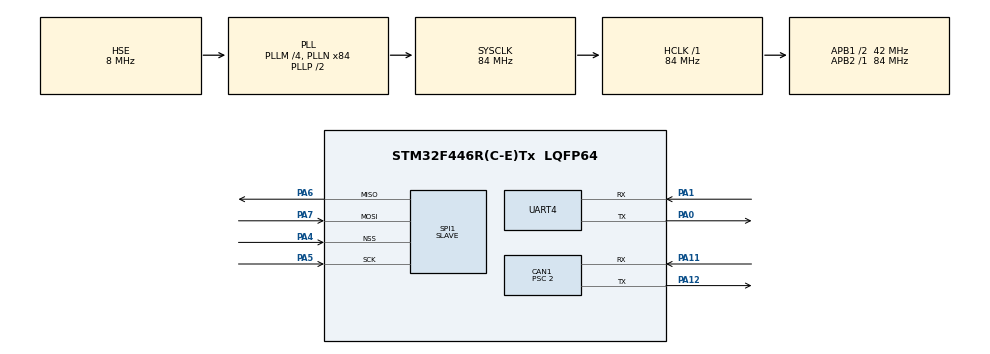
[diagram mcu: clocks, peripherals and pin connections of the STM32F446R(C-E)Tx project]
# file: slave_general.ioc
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CAN1.BS1=CAN_BS1_16TQ
CAN1.BS2=CAN_BS2_4TQ
CAN1.CalculateBaudRate=1000000
CAN1.CalculateTimeBit=1000
CAN1.CalculateTimeQuantum=47.61904761904762
CAN1.Prescaler=2
Dma.Request0=SPI1_RX
Dma.Request1=SPI1_TX
Dma.SPI1_RX.0.Direction=DMA_PERIPH_TO_MEMORY
Dma.SPI1_RX.0.FIFOMode=DMA_FIFOMODE_DISABLE
Dma.SPI1_RX.0.Instance=DMA2_Stream0
Dma.SPI1_RX.0.MemDataAlignment=DMA_MDATAALIGN_BYTE
Dma.SPI1_RX.0.MemInc=DMA_MINC_ENABLE
Dma.SPI1_RX.0.Mode=DMA_NORMAL
Dma.SPI1_RX.0.PeriphDataAlignment=DMA_PDATAALIGN_BYTE
Dma.SPI1_RX.0.PeriphInc=DMA_PINC_DISABLE
Dma.SPI1_RX.0.Priority=DMA_PRIORITY_LOW
Dma.SPI1_TX.1.Direction=DMA_MEMORY_TO_PERIPH
Dma.SPI1_TX.1.FIFOMode=DMA_FIFOMODE_DISABLE
Dma.SPI1_TX.1.Instance=DMA2_Stream3
Dma.SPI1_TX.1.MemDataAlignment=DMA_MDATAALIGN_BYTE
Dma.SPI1_TX.1.MemInc=DMA_MINC_ENABLE
Dma.SPI1_TX.1.Mode=DMA_NORMAL
Dma.SPI1_TX.1.PeriphDataAlignment=DMA_PDATAALIGN_BYTE
Dma.SPI1_TX.1.PeriphInc=DMA_PINC_DISABLE
Dma.SPI1_TX.1.Priority=DMA_PRIORITY_LOW
Mcu.Family=STM32F4
Mcu.Name=STM32F446R(C-E)Tx
Mcu.Package=LQFP64
NVIC.CAN1_RX0_IRQn=true\:1\:0\:true\:false\:true\:true\:true\:true
NVIC.DMA2_Stream0_IRQn=true\:0\:0\:false\:false\:true\:false\:true\:true
NVIC.DMA2_Stream3_IRQn=true\:0\:0\:false\:false\:true\:false\:true\:true
NVIC.PriorityGroup=NVIC_PRIORITYGROUP_4
NVIC.SPI1_IRQn=true\:1\:0\:true\:false\:true\:true\:true\:true
PA0-WKUP.Mode=Asynchronous
PA0-WKUP.Signal=UART4_TX
PA1.Mode=Asynchronous
PA1.Signal=UART4_RX
PA11.Mode=CAN_Activate
PA11.Signal=CAN1_RX
PA12.Mode=CAN_Activate
PA12.Signal=CAN1_TX
PA4.Mode=NSS_Signal_Hard_Input
PA4.Signal=SPI1_NSS
PA5.Mode=Full_Duplex_Slave
PA5.Signal=SPI1_SCK
PA6.Mode=Full_Duplex_Slave
PA6.Signal=SPI1_MISO
PA7.Mode=Full_Duplex_Slave
PA7.Signal=SPI1_MOSI
PH0-OSC_IN.Mode=HSE-External-Oscillator
PH0-OSC_IN.Signal=RCC_OSC_IN
PH1-OSC_OUT.Mode=HSE-External-Oscillator
PH1-OSC_OUT.Signal=RCC_OSC_OUT
ProjectManager.HeapSize=0x200
ProjectManager.StackSize=0x400
ProjectManager.TargetToolchain=STM32CubeIDE
RCC.AHBFreq_Value=84000000
RCC.APB1CLKDivider=RCC_HCLK_DIV2
RCC.APB1Freq_Value=42000000
RCC.APB1TimFreq_Value=84000000
RCC.APB2Freq_Value=84000000
RCC.APB2TimFreq_Value=84000000
RCC.CortexFreq_Value=84000000
RCC.HCLKFreq_Value=84000000
RCC.HSE_VALUE=8000000
RCC.PLLM=4
RCC.PLLN=84
RCC.PLLSourceVirtual=RCC_PLLSOURCE_HSE
RCC.SYSCLKFreq_VALUE=84000000
RCC.SYSCLKSource=RCC_SYSCLKSOURCE_PLLCLK
RCC.USBFreq_Value=84000000
RCC.VCOOutputFreq_Value=168000000
SPI1.Direction=SPI_DIRECTION_2LINES
SPI1.Mode=SPI_MODE_SLAVE
SPI1.VirtualNSS=VM_NSSHARD
SPI1.VirtualType=VM_SLAVE
UART4.VirtualMode=Asynchronous
board=custom

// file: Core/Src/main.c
/* USER CODE BEGIN Header */
/**
  ******************************************************************************
  * @file           : main.c
  * @brief          : Main program body
  ******************************************************************************
  * @attention
  *
  * Copyright (c) 2025 STMicroelectronics.
  * All rights reserved.
  *
  * This software is licensed under terms that can be found in the LICENSE file
  * in the root directory of this software component.
  * If no LICENSE file comes with this software, it is provided AS-IS.
  *
  ******************************************************************************
  */
/* USER CODE END Header */
#include "main.h"

/* USER CODE BEGIN Includes */
#include "stm32f4xx_hal.h"
#include "stm32f4xx_hal_def.h"
#include "stm32f4xx_hal_uart.h"
#include <stdint.h>
#include <stdio.h>
#include <string.h>
#include "robostride.h"
#include "motor_chain.h"
#include "slave_spi.h"
#include "motor_runtime.h"
#include "tx_arm_timer.h"   /* TX-arm deadline (one-shot TIM3) — removes the telemetry lag */
#include "../../../../common/include/slave_service.h"  /* slave_service_due — forward/fallback */
#include "spi_proto.h"     /* SPI frame codec: build telemetry, parse commands */

/* USER CODE END Includes */

/* USER CODE BEGIN PD */
/* Compile-time gate for ALL UART4 debug output (TX on pin PA0, 115200 8N1).
   OFF by default: no debug console is wired in the normal build, and
   HAL_UART_Transmit is blocking (~8 ms per line) inside the 200 Hz control loop.
   Set to 1 (e.g. -DSLAVE_UART_DEBUG=1) for bring-up on a UART adapter on PA0. */
#ifndef SLAVE_UART_DEBUG
#define SLAVE_UART_DEBUG 0
#endif
#if SLAVE_UART_DEBUG
#define DBG_PRINTF(...) printf(__VA_ARGS__)
#else
#define DBG_PRINTF(...) ((void)0)
#endif

#define LOOP_POLL_PERIOD_MS MOTOR_LOOP_PERIOD_MS   /* 200 Hz CAN control loop */
#define STATUS_LED_PULSE_MS 40U
#define STATUS_LED_GPIO_Port GPIOA
#define STATUS_LED_Pin GPIO_PIN_5
#if SLAVE_UART_DEBUG
#define DBG_PRINT_PERIOD_MS 500U   /* min ms between debug motor-state prints */
#endif

/* USER CODE END PD */

CAN_HandleTypeDef hcan1;

SPI_HandleTypeDef hspi1;
DMA_HandleTypeDef hdma_spi1_rx;
DMA_HandleTypeDef hdma_spi1_tx;

#if SLAVE_UART_DEBUG
UART_HandleTypeDef huart4;
#endif

/* USER CODE BEGIN PV */
static uint32_t loop_next_poll_ms = 0;
#if SLAVE_UART_DEBUG
static uint32_t dbg_last_print_ms = 0;
#endif
static uint32_t last_feedback_count = 0;
static uint32_t status_led_off_ms = 0;
static uint8_t  spi_echo_seq    = 0;   /* SPI link-health seq of the last VALID frame */
static uint32_t cmd_crc_errors  = 0;   /* SPI command frames rejected on CRC */

/* USER CODE END PV */

void SystemClock_Config(void);
static void MX_GPIO_Init(void);
static void MX_DMA_Init(void);
static void MX_CAN1_Init(void);
static void MX_SPI1_Init(void);
#if SLAVE_UART_DEBUG
static void MX_UART4_Init(void);
#endif

/* USER CODE BEGIN 0 */
int __io_putchar(int ch) {
#if SLAVE_UART_DEBUG
    uint8_t c = (uint8_t)ch;
    HAL_UART_Transmit(&huart4, &c, 1, HAL_MAX_DELAY);
#endif
    return ch;
}

#if SLAVE_UART_DEBUG
static int32_t to_milli(float value)
{
    return (int32_t)(value * 1000.0f);
}

static void append_milli(char *dst, size_t dst_len, int32_t milli)
{
    const char *sign = "";
    int32_t whole;
    int32_t frac;

    if (milli < 0) {
        sign = "-";
        milli = -milli;
    }

    whole = milli / 1000;
    frac = milli % 1000;
    snprintf(dst, dst_len, "%s%ld.%03ld", sign, (long)whole, (long)frac);
}

static void dbg_print_motor_state(const motor_t *motor)
{
    char pos[20];
    char vel[20];
    char torq[20];
    char temp[20];
    char line[160];
    uint32_t fault = 0;

    append_milli(pos, sizeof(pos), to_milli(motor->pos));
    append_milli(vel, sizeof(vel), to_milli(motor->rpm));
    append_milli(torq, sizeof(torq), to_milli(motor->torq));
    append_milli(temp, sizeof(temp), to_milli(motor->temperature));

    fault |= (uint32_t)motor->motor_errors.undervoltage << 0;
    fault |= (uint32_t)motor->motor_errors.driver_fault << 1;
    fault |= (uint32_t)motor->motor_errors.overheat << 2;
    fault |= (uint32_t)motor->motor_errors.encoder_fault << 3;
    fault |= (uint32_t)motor->motor_errors.stall_overload << 4;
    fault |= (uint32_t)motor->motor_errors.uncalibrated << 5;

    int len = snprintf(
        line,
        sizeof(line),
        "motor=%u pos=%s rad vel=%s rad/s tau=%s Nm temp=%s C status=%u fault=0x%02lX\r\n",
        (unsigned)motor->id,
        pos,
        vel,
        torq,
        temp,
        (unsigned)motor->status,
        (unsigned long)fault);

    if (len > 0) {
        if ((size_t)len >= sizeof(line)) {
            len = (int)sizeof(line) - 1;
        }
        HAL_UART_Transmit(&huart4, (uint8_t *)line, (uint16_t)len, 50);
    }
}
#endif /* SLAVE_UART_DEBUG */

/* Assemble + stage this slave's tele_chain_t for the next SPI exchange. Called once per
   loop iteration after the service (send) and feedback handling, so it carries the
   freshest mirrored motor state and the cmd_seq confirmation paired from the most recent
   reply — which the master then reads on the very next exchange. */
static void stage_telemetry(void)
{
    tele_chain_t chain;
    memset(&chain, 0, sizeof(chain));
    chain.chain_id       = 0u;
    chain.n_motors       = N_MOTORS;
    chain.spi_seq_echo   = spi_echo_seq;
    chain.spi_resyncs      = spi_resyncs;                      /* DMA realigns (wraps) */
    chain.spi_tx_arm_fails = (uint8_t)spi_tx_arm_fails;        /* TX-arm DMA failures (wraps) */
    chain.slave_time_us  = (uint32_t)(HAL_GetTick() * 1000u);  /* ms→µs (no µs timer) */
    chain.cmd_crc_errors = (uint16_t)cmd_crc_errors;
    chain.can_tx_errors  = (uint16_t)can_tx_error_count;
    for (uint8_t _i = 0; _i < N_MOTORS; _i++) {
        motor_runtime_sample(&chain.motors[_i], _i);
    }
    uint8_t frame[PAYLOAD_LENGTH];
    spi_proto_build_tele(frame, &chain);
    spi_write_next_tx_buf(frame, tele_stage_buf);
}

/* USER CODE END 0 */

int main(void)
{

  /* MCU Configuration--------------------------------------------------------*/

  /* Reset of all peripherals, Initializes the Flash interface and the Systick. */
  HAL_Init();

  /* USER CODE BEGIN Init */
  can_rx_flag = 0;
  /* USER CODE END Init */

  /* Configure the system clock */
  SystemClock_Config();

  /* USER CODE BEGIN SysInit */
  HAL_Delay(2500);  /* motors need ~1.5-2 s to boot CAN stack from cold power-on */
  SCnSCB->ACTLR |= SCnSCB_ACTLR_DISDEFWBUF_Msk ;

  /* USER CODE END SysInit */

  /* Initialize all configured peripherals */
  MX_GPIO_Init();
  MX_DMA_Init();
  MX_CAN1_Init();
  MX_SPI1_Init();
#if SLAVE_UART_DEBUG
  MX_UART4_Init();
#endif
  /* USER CODE BEGIN 2 */

  /* Bind CAN ids into the (private) motors[] before the bus starts, so the RX
     ISR's id lookup can match feedback. */
  motor_chain_bind_ids();

  if (can_bus_init() != HAL_OK) {
    Error_Handler();
  }

  tx_arm_timer_init(TX_ARM_DEADLINE_US);  /* ready BEFORE the first TxRxCplt starts it */
  spi_dma_init(&hspi1);
  motor_runtime_init();   /* discover motors via CAN, populate alive mask */

  loop_next_poll_ms   = HAL_GetTick();
  last_feedback_count = can_feedback_count;

  /* µs-resolution timebase (DWT cycle counter) for forward/fallback service gating.
     Thresholds scale with the generated master cycle, so 200/400 Hz both work. */
  CoreDebug->DEMCR |= CoreDebug_DEMCR_TRCENA_Msk;
  DWT->CYCCNT = 0u;
  DWT->CTRL  |= DWT_CTRL_CYCCNTENA_Msk;
  const uint32_t cyc_per_us    = SystemCoreClock / 1000000u;
  const uint32_t svc_min_ticks = (MASTER_CYCLE_US / 2u) * cyc_per_us;         /* 0.5 cycle */
  const uint32_t svc_fb_ticks  = ((MASTER_CYCLE_US * 8u) / 5u) * cyc_per_us;  /* 1.6 cycle */
  uint32_t last_send_cyc = 0u;   /* last service of any kind (cycles)       */
  uint32_t last_exch_cyc = 0u;   /* last exchange-driven service (cycles)   */
#if SLAVE_UART_DEBUG
  dbg_last_print_ms   = HAL_GetTick();
#endif
  DBG_PRINTF("slave: %u/%u motors alive\r\n",
         (unsigned)__builtin_popcount(motor_runtime_motors_alive()),
         (unsigned)N_MOTORS);

  /* USER CODE END 2 */

  /* Infinite loop */
  while (1)
  {

    /* USER CODE BEGIN 3 */
    uint32_t now     = HAL_GetTick();
    uint32_t now_cyc = DWT->CYCCNT;
    uint8_t  need_stage = 0u;   /* stage telemetry once at iteration end if anything changed */

    /* SPI command handler FIRST — forward-on-command: service the motors immediately
       on every valid (CRC-OK) exchange, so a new command reaches the motor without
       waiting for the slave's own tick. Each exchange is one master cycle. */
    if (data_receive_flag) {
      /* Fix 1 (torn-parse): cmd_inbox_buf is a pointer the SPI ISR reswaps, so
         parsing it in place could split a command across two transfers. Copy the
         current command frame into a main-owned local under a brief IRQ mask
         (COPY, not latch: after a swap the old buffer becomes the DMA's next
         write target), then parse only the local. */
      uint8_t cmd_local[SPI_CMD_FRAME_SIZE];
      __disable_irq();
      memcpy(cmd_local, (const void *)cmd_inbox_buf, sizeof(cmd_local));
      data_receive_flag = 0;
      __enable_irq();

      /* Verify the command-frame CRC + version trailer, extract the header and
         cmd_chain_t. On a CRC failure apply nothing (a corrupt command must not
         refresh watchdogs or move a motor), count it, and resync the DMA — send
         nothing this exchange. On a VERSION MISMATCH (CRC-intact frame from a
         master built against a different wire contract) apply nothing and count
         it, but do NOT resync: the link itself is framed correctly, and with no
         fresh commands ever applied the master-loss watchdog keeps the motors
         safe until someone reflashes. */
      SpiCmdHdr   hdr;
      cmd_chain_t chain;
      uint8_t parse = spi_proto_parse_cmd(cmd_local, &hdr, &chain);
      if (parse == SPI_PARSE_BAD) {
        cmd_crc_errors++;
        slave_spi_resync(&hspi1);
      } else if (parse == SPI_PARSE_MISMATCH) {
        cmd_crc_errors++;             /* counted with CRC rejects (both = "refused") */
      } else {
        spi_echo_seq = hdr.spi_seq;   /* echo the SPI link-health seq */
        uint8_t cmd_fresh = (hdr.opcode == SPI_OP_ROBOT_CMD) ? 1u : 0u;

        if (cmd_fresh) {
          /* Only a real command refreshes the master-link watchdog — a NOP keepalive does
             NOT (task 6), so the slave's master-loss ramp still fires if the master falls
             back to keepalives or dies. Level-triggered per-motor mode requests. */
          for (uint8_t _w = 0; _w < N_MOTORS; _w++)
            motor_runtime_refresh_watchdog(_w);
          uint8_t n = (chain.n_motors > N_MOTORS) ? N_MOTORS : chain.n_motors;
          for (uint8_t _i = 0; _i < n; _i++) {
            motor_runtime_apply_cmd(_i, &chain.motors[_i], hdr.cmd_seq);
          }
        }
        /* The arm handshake is async now (arm_sm.h) so apply_cmd no longer blocks; the
           time-base refresh stays as cheap insurance that watchdog/fault checks never
           run against a `now` captured before a slow apply. */
        now     = HAL_GetTick();
        now_cyc = DWT->CYCCNT;
        /* Forward service: drive the applied command (cmd_fresh) or, on a NOP, hold/ramp.
           The min-guard prevents a double send. */
        if (slave_service_due(SVC_EXCHANGE, 1u, now_cyc, last_send_cyc, last_exch_cyc,
                              svc_min_ticks, svc_fb_ticks)) {
          motor_runtime_update(now, cmd_fresh);
          last_send_cyc = now_cyc;
          last_exch_cyc = now_cyc;
          need_stage = 1u;
        }
      }
    }

    /* Fallback tick — services ONLY when exchanges have stopped (SPI link lost), so
       the motors keep holding until the watchdog trips. In normal streaming every
       exchange forwards, so this never fires (no double send). */
    if ((int32_t)(now - loop_next_poll_ms) >= 0) {
      loop_next_poll_ms += LOOP_POLL_PERIOD_MS;
      if (slave_service_due(SVC_FALLBACK, 1u, now_cyc, last_send_cyc, last_exch_cyc,
                            svc_min_ticks, svc_fb_ticks)) {
        motor_runtime_update(now, /*cmd_fresh=*/0u);   /* no command → hold/ramp */
        last_send_cyc = now_cyc;
        need_stage = 1u;
      }
    }

    /* On each new CAN feedback: mirror the reply into motor state + pair cmd_seq NOW
       (not at the next exchange), so the telemetry staged below carries the freshest
       state and this reply's confirmation → read by the master on the next exchange. */
    if (can_feedback_count != last_feedback_count) {
      last_feedback_count = can_feedback_count;
      motor_runtime_on_feedback(now);
      need_stage = 1u;
      HAL_GPIO_WritePin(STATUS_LED_GPIO_Port, STATUS_LED_Pin, GPIO_PIN_SET);
      status_led_off_ms = now + STATUS_LED_PULSE_MS;

#if SLAVE_UART_DEBUG
      if ((now - dbg_last_print_ms) >= DBG_PRINT_PERIOD_MS) {
        dbg_last_print_ms = now;
        motor_t snap0;
        motor_get_snapshot(0, &snap0);          /* coherent read for the debug print */
        dbg_print_motor_state(&snap0);
      }
#endif
    }

    /* Stage telemetry once per iteration, after both the service (send + any state/fault
       change) and feedback (fresh state + confirmation) — so the next exchange carries the
       freshest frame. Gated so an idle spin doesn't rebuild needlessly. */
    if (need_stage) {
      stage_telemetry();
    }
    /* TX-arm is deadline-driven (one-shot TIM3 → spi_arm_tx at TX_ARM_DEADLINE_US, after the
       reply window and before the next exchange). An earlier all-replied arm was tried but
       its reply-jitter-coupled timing skipped last_applied values (superseded); the fixed
       deadline is deterministic and one cycle sooner than the old TxRxCplt arm. */

    if (status_led_off_ms != 0U && (int32_t)(now - status_led_off_ms) >= 0) {
      HAL_GPIO_WritePin(STATUS_LED_GPIO_Port, STATUS_LED_Pin, GPIO_PIN_RESET);
      status_led_off_ms = 0U;
    }

  }
  /* USER CODE END 3 */
}

void SystemClock_Config(void)
{
  RCC_OscInitTypeDef RCC_OscInitStruct = {0};
  RCC_ClkInitTypeDef RCC_ClkInitStruct = {0};

  /** Configure the main internal regulator output voltage
  */
  __HAL_RCC_PWR_CLK_ENABLE();
  __HAL_PWR_VOLTAGESCALING_CONFIG(PWR_REGULATOR_VOLTAGE_SCALE3);

  /** Initializes the RCC Oscillators according to the specified parameters
  * in the RCC_OscInitTypeDef structure.
  */
  RCC_OscInitStruct.OscillatorType = RCC_OSCILLATORTYPE_HSE;
  RCC_OscInitStruct.HSEState = RCC_HSE_ON;
  RCC_OscInitStruct.PLL.PLLState = RCC_PLL_ON;
  RCC_OscInitStruct.PLL.PLLSource = RCC_PLLSOURCE_HSE;
  RCC_OscInitStruct.PLL.PLLM = 4;
  RCC_OscInitStruct.PLL.PLLN = 84;
  RCC_OscInitStruct.PLL.PLLP = RCC_PLLP_DIV2;
  RCC_OscInitStruct.PLL.PLLQ = 2;
  RCC_OscInitStruct.PLL.PLLR = 2;
  if (HAL_RCC_OscConfig(&RCC_OscInitStruct) != HAL_OK)
  {
    Error_Handler();
  }

  /** Initializes the CPU, AHB and APB buses clocks
  */
  RCC_ClkInitStruct.ClockType = RCC_CLOCKTYPE_HCLK|RCC_CLOCKTYPE_SYSCLK
                              |RCC_CLOCKTYPE_PCLK1|RCC_CLOCKTYPE_PCLK2;
  RCC_ClkInitStruct.SYSCLKSource = RCC_SYSCLKSOURCE_PLLCLK;
  RCC_ClkInitStruct.AHBCLKDivider = RCC_SYSCLK_DIV1;
  RCC_ClkInitStruct.APB1CLKDivider = RCC_HCLK_DIV2;
  RCC_ClkInitStruct.APB2CLKDivider = RCC_HCLK_DIV1;

  if (HAL_RCC_ClockConfig(&RCC_ClkInitStruct, FLASH_LATENCY_2) != HAL_OK)
  {
    Error_Handler();
  }
}

static void MX_CAN1_Init(void)
{

  hcan1.Instance = CAN1;
  hcan1.Init.Prescaler = 2;
  hcan1.Init.Mode = CAN_MODE_NORMAL;
  hcan1.Init.SyncJumpWidth = CAN_SJW_1TQ;
  hcan1.Init.TimeSeg1 = CAN_BS1_16TQ;
  hcan1.Init.TimeSeg2 = CAN_BS2_4TQ;
  hcan1.Init.TimeTriggeredMode = DISABLE;
  hcan1.Init.AutoBusOff = DISABLE;
  hcan1.Init.AutoWakeUp = DISABLE;
  hcan1.Init.AutoRetransmission = DISABLE;
  hcan1.Init.ReceiveFifoLocked = DISABLE;
  hcan1.Init.TransmitFifoPriority = DISABLE;
  if (HAL_CAN_Init(&hcan1) != HAL_OK)
  {
    Error_Handler();
  }

}

static void MX_SPI1_Init(void)
{

  /* SPI1 parameter configuration*/
  hspi1.Instance = SPI1;
  hspi1.Init.Mode = SPI_MODE_SLAVE;
  hspi1.Init.Direction = SPI_DIRECTION_2LINES;
  hspi1.Init.DataSize = SPI_DATASIZE_8BIT;
  hspi1.Init.CLKPolarity = SPI_POLARITY_LOW;
  hspi1.Init.CLKPhase = SPI_PHASE_1EDGE;
  hspi1.Init.NSS = SPI_NSS_HARD_INPUT;
  hspi1.Init.FirstBit = SPI_FIRSTBIT_MSB;
  hspi1.Init.TIMode = SPI_TIMODE_DISABLE;
  hspi1.Init.CRCCalculation = SPI_CRCCALCULATION_DISABLE;
  hspi1.Init.CRCPolynomial = 10;
  if (HAL_SPI_Init(&hspi1) != HAL_OK)
  {
    Error_Handler();
  }

}

#if SLAVE_UART_DEBUG
static void MX_UART4_Init(void)
{

  huart4.Instance = UART4;
  huart4.Init.BaudRate = 115200;
  huart4.Init.WordLength = UART_WORDLENGTH_8B;
  huart4.Init.StopBits = UART_STOPBITS_1;
  huart4.Init.Parity = UART_PARITY_NONE;
  huart4.Init.Mode = UART_MODE_TX_RX;
  huart4.Init.HwFlowCtl = UART_HWCONTROL_NONE;
  huart4.Init.OverSampling = UART_OVERSAMPLING_16;
  if (HAL_UART_Init(&huart4) != HAL_OK)
  {
    Error_Handler();
  }

}
#endif /* SLAVE_UART_DEBUG */

static void MX_DMA_Init(void)
{

  /* DMA controller clock enable */
  __HAL_RCC_DMA2_CLK_ENABLE();

  /* DMA interrupt init */
  /* DMA2_Stream0_IRQn interrupt configuration */
  HAL_NVIC_SetPriority(DMA2_Stream0_IRQn, 0, 0);
  HAL_NVIC_EnableIRQ(DMA2_Stream0_IRQn);
  /* DMA2_Stream3_IRQn interrupt configuration */
  HAL_NVIC_SetPriority(DMA2_Stream3_IRQn, 0, 0);
  HAL_NVIC_EnableIRQ(DMA2_Stream3_IRQn);

}

static void MX_GPIO_Init(void)
{

  /* GPIO Ports Clock Enable */
  __HAL_RCC_GPIOH_CLK_ENABLE();
  __HAL_RCC_GPIOA_CLK_ENABLE();

/* USER CODE BEGIN MX_GPIO_Init_2 */
  GPIO_InitTypeDef GPIO_InitStruct = {0};
  HAL_GPIO_WritePin(STATUS_LED_GPIO_Port, STATUS_LED_Pin, GPIO_PIN_RESET);
  GPIO_InitStruct.Pin = STATUS_LED_Pin;
  GPIO_InitStruct.Mode = GPIO_MODE_OUTPUT_PP;
  GPIO_InitStruct.Pull = GPIO_NOPULL;
  GPIO_InitStruct.Speed = GPIO_SPEED_FREQ_LOW;
  HAL_GPIO_Init(STATUS_LED_GPIO_Port, &GPIO_InitStruct);
/* USER CODE END MX_GPIO_Init_2 */
}

void Error_Handler(void)
{
  __disable_irq();
  while (1)
  {
  }
}
